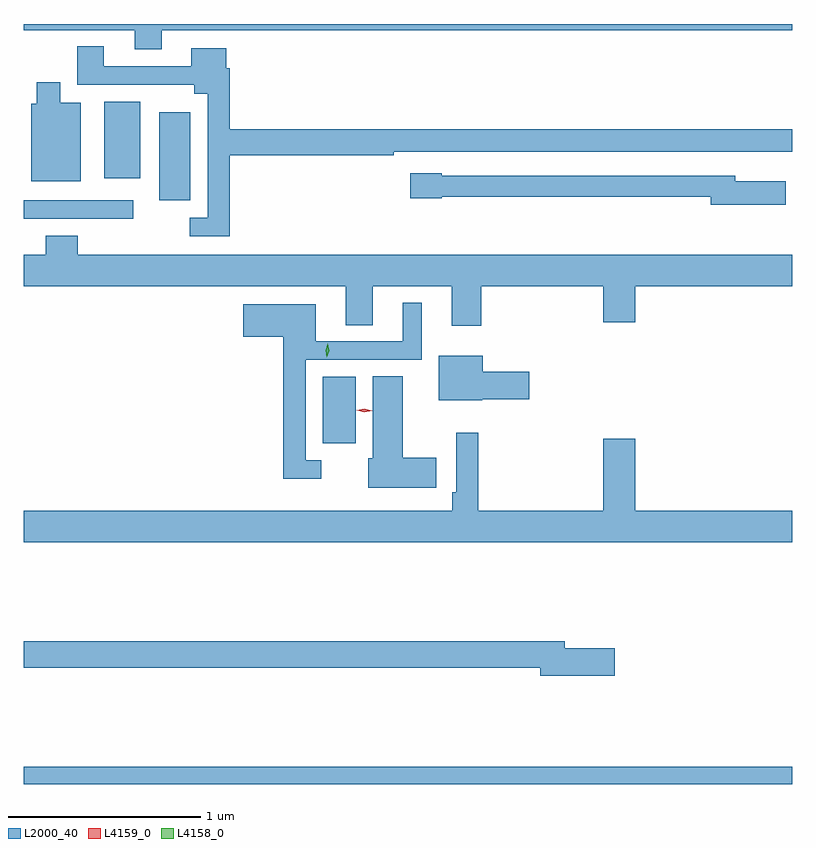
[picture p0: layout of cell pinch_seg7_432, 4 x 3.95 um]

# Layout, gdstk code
import gdstk
lib = gdstk.Library(unit=1e-6, precision=1e-09)
def R(c, l, rs):  # rectangles x0, y0, x1, y1
    for r in rs: c.add(gdstk.rectangle(r[:2], r[2:], *l))
def P(c, l, *ps):  # polygons
    for p in ps: c.add(gdstk.Polygon(p, *l))
L2000_40 = (2000, 40)
L4158_0 = (4158, 0)
L4159_0 = (4159, 0)

pinch_seg7_432 = lib.new_cell('pinch_seg7_432')
R(pinch_seg7_432, L2000_40, [(281.871,1077.946,285.871,1078.036), (283.427,1079.72,283.6,1080.064), (281.871,1080.888,282.442,1080.984), (282.578,1080.983,282.739,1081.441), (282.29,1081.097,282.478,1081.495)])
P(pinch_seg7_432, L2000_40, [(282.589,1081.868),(285.871,1081.868),(285.871,1081.9),(281.871,1081.9),(281.871,1081.868),(282.449,1081.868),(282.449,1081.769),(282.589,1081.769)],
  [(282.944,1081.216),(283.796,1081.216),(283.796,1081.236),(285.67,1081.236),(285.67,1081.235),(285.871,1081.235),(285.871,1081.352),(282.944,1081.352),(282.944,1081.67),(282.925,1081.67),(282.925,1081.774),(282.743,1081.774),(282.743,1081.68),(282.289,1081.68),(282.289,1081.783),(282.149,1081.783),(282.149,1081.584),(282.758,1081.584),(282.758,1081.538),(282.828,1081.538),(282.828,1080.891),(282.735,1080.891),(282.735,1080.795),(282.944,1080.795)],
  [(282.169,1081.489),(282.061,1081.489),(282.061,1081.597),(281.939,1081.597),(281.939,1081.485),(281.912,1081.485),(281.912,1081.082),(282.169,1081.082)],
  [(285.835,1081.081),(285.574,1081.081),(285.574,1081.11),(284.046,1081.11),(284.046,1081.123),(283.884,1081.123),(283.884,1080.994),(284.046,1080.994),(284.046,1081.002),(285.446,1081.002),(285.446,1080.959),(285.835,1080.959)],
  [(284.252,1080.536),(284.888,1080.536),(284.888,1080.348),(285.052,1080.348),(285.052,1080.536),(285.871,1080.536),(285.871,1080.7),(282.152,1080.7),(282.152,1080.799),(281.987,1080.799),(281.987,1080.7),(281.871,1080.7),(281.871,1080.536),(283.547,1080.536),(283.547,1080.334),(283.687,1080.334),(283.687,1080.536),(284.099,1080.536),(284.099,1080.33),(284.252,1080.33)],
  [(283.42,1079.631),(283.338,1079.631),(283.338,1080.153),(283.942,1080.153),(283.942,1080.451),(283.844,1080.451),(283.844,1080.249),(283.39,1080.249),(283.39,1080.442),(283.014,1080.442),(283.014,1080.272),(283.222,1080.272),(283.222,1079.534),(283.42,1079.534)],
  [(284.256,1079.948),(284.503,1079.948),(284.503,1080.09),(284.26,1080.09),(284.26,1080.175),(284.03,1080.175),(284.03,1079.942),(284.256,1079.942)],
  [(284.017,1079.644),(283.843,1079.644),(283.843,1080.068),(283.688,1080.068),(283.688,1079.64),(283.664,1079.64),(283.664,1079.486),(284.017,1079.486)],
  [(285.871,1079.368),(285.052,1079.368),(285.052,1079.743),(284.888,1079.743),(284.888,1079.368),(284.237,1079.368),(284.237,1079.773),(284.121,1079.773),(284.121,1079.464),(284.101,1079.464),(284.101,1079.368),(281.871,1079.368),(281.871,1079.204),(285.871,1079.204)],
  [(284.947,1078.652),(284.686,1078.652),(284.686,1078.688),(281.871,1078.688),(281.871,1078.552),(284.558,1078.552),(284.558,1078.51),(284.947,1078.51)])
P(pinch_seg7_432, L4158_0, [(283.449,1080.165),(283.449,1080.166),(283.442,1080.202),(283.454,1080.237),(283.454,1080.238),(283.454,1080.237),(283.462,1080.201),(283.449,1080.166)])
P(pinch_seg7_432, L4159_0, [(283.644,1079.88),(283.604,1079.89),(283.603,1079.89),(283.604,1079.89),(283.644,1079.899),(283.684,1079.889),(283.684,1079.889),(283.684,1079.889)])

lib.write_gds('pinch_seg7_432.gds')
